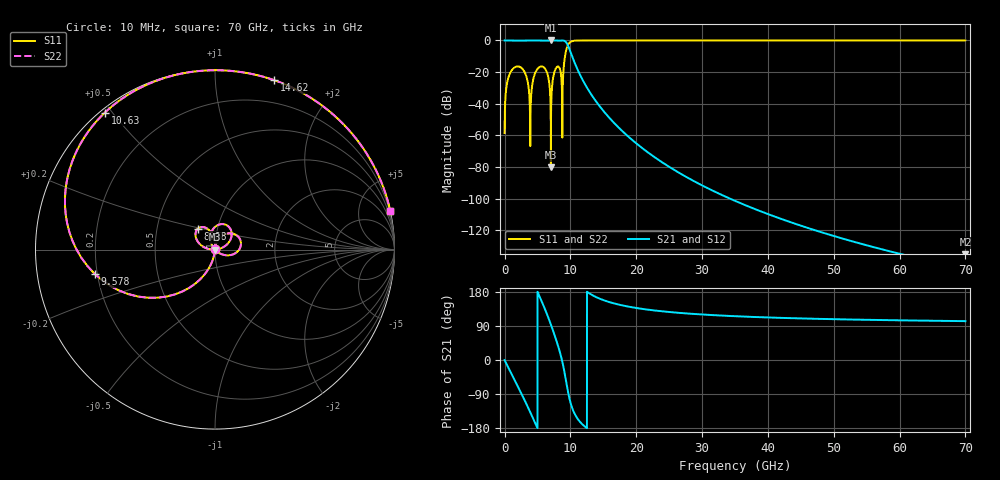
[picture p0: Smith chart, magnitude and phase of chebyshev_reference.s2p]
! Ideal Chebyshev Type-I reference filter
! Z0 = 50.0 ohm
! Frequency unit: GHz
! Data format: S RI
# GHz S RI R 50.0
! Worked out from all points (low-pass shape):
!   10001 points, 10 MHz to 70 GHz, reference 50 ohm
!   highest |S21| = 0.00 dB at 7.037 GHz (marker M1); lowest = -144.3 dB at 70 GHz (marker M2)
!   |S21| within 3 dB of the highest: start of sweep to 9.611 GHz
!   lowest |S11| = -80.2 dB at 7.037 GHz (marker M3), VSWR 1.00, Z = 50 - j0.000629 ohm
!   |S11| at or under -10 dB: start of sweep to 9.185 GHz
!   |S22| runs from -80.2 to 0.0 dB; largest |S21 - S12| = 0
!   S11 on the Smith chart (normalised r, x): 10 MHz: 1.00, +0.00; 8.08 GHz: 0.80, +0.19; 9.578 GHz: 0.19, -0.10; 10.63 GHz: 0.01, +0.48; 14.62 GHz: 0.00, +1.41; 70 GHz: -0.00, +9.10
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0.01  7.24e-06 0.00119  1 -0.0061  1 -0.0061  7.24e-06 0.00119
0.415942  0.0122 0.0469  0.9669 -0.2504  0.9669 -0.2504  0.0122 0.0469
0.870877  0.0481 0.0823  0.8592 -0.5027  0.8592 -0.5027  0.0481 0.0823
1.934725  0.1387 0.0588  0.3861 -0.9101  0.3861 -0.9101  0.1387 0.0588
3.005572  0.101 -0.0263  -0.2506 -0.9625  -0.2506 -0.9625  0.101 -0.0263
3.915442  -0.000922 0.00103  -0.7447 -0.6674  -0.7447 -0.6674  -0.000922 0.00103
5.084275  0.00707 0.1318  -0.9898 0.0531  -0.9898 0.0531  0.00707 0.1318
6.218113  0.0927 0.0803  -0.6496 0.7503  -0.6496 0.7503  0.0927 0.0803
7.036996  -9.74e-05 -6.29e-06  -0.0645 0.9979  -0.0645 0.9979  -9.74e-05 -6.29e-06
8.079847  -0.0967 0.1155  0.7579 0.6347  0.7579 0.6347  -0.0967 0.1155
8.765749  0.000292 0.00454  0.9979 -0.0643  0.9979 -0.0643  0.000292 0.00454
9.577633  -0.6673 -0.1379  0.1481 -0.7167  0.1481 -0.7167  -0.6673 -0.1379
10.00457  -0.8329 0.3321  -0.164 -0.4112  -0.164 -0.4112  -0.8329 0.3321
10.62748  -0.6139 0.763  -0.1578 -0.1269  -0.1578 -0.1269  -0.6139 0.763
11.67733  -0.2194 0.9733  -0.0654 -0.0147  -0.0654 -0.0147  -0.2194 0.9733
14.61691  0.3315 0.9434  -0.0071 0.00249  -0.0071 0.00249  0.3315 0.9434
23.34467  0.7706 0.6374  -0.000109 0.000132  -0.000109 0.000132  0.7706 0.6374
25.30439  0.807 0.5906  -5.49e-05 7.51e-05  -5.49e-05 7.51e-05  0.807 0.5906
35.005  0.9022 0.4314  -3.69e-06 7.72e-06  -3.69e-06 7.72e-06  0.9022 0.4314
46.67233  0.9457 0.3249  -3.52e-07 1.03e-06  -3.52e-07 1.03e-06  0.9457 0.3249
58.33967  0.9655 0.2604  -5.78e-08 2.14e-07  -5.78e-08 2.14e-07  0.9655 0.2604
70  0.9761 0.2172  -1.33e-08 5.98e-08  -1.33e-08 5.98e-08  0.9761 0.2172
